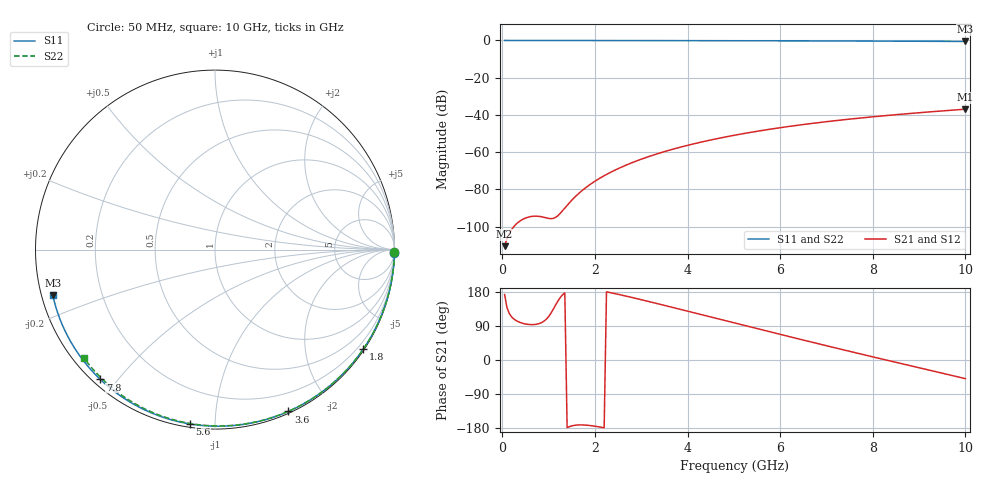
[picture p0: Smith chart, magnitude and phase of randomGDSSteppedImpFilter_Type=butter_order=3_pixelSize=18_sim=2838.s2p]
! freq	dB(S11)	phase(S11)	dB(S12)	phase(S12)
!  dB(S21)	phase(S21)	dB(S22)	phase(S22)
!S-par simulation data
#  GHz  S  DB  R 50
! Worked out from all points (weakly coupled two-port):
!   200 points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, 50 MHz to 10 GHz, reference 50 ohm
!   highest |S21| = -36.93 dB at 10 GHz (marker M1); lowest = -110.5 dB at 50 MHz (marker M2)
!   lowest |S11| = -0.5 dB at 10 GHz (marker M3), VSWR 31.73, Z = 1.61 - j6.88 ohm
!   |S11| at or under -10 dB: nowhere
!   |S22| runs from -0.5 to 0.0 dB; largest |S21 - S12| = 0
!   S11 on the Smith chart (normalised r, x): 50 MHz: open; 1.8 GHz: 0.03, -3.29; 3.6 GHz: 0.02, -1.55; 5.6 GHz: 0.02, -0.87; 7.8 GHz: 0.02, -0.45; 10 GHz: 0.03, -0.14
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0.05  -0.00 -1.0  -110.54 172.9  -110.54 172.9  -0.00 -0.8
0.45  -0.01 -8.6  -96.01 96.5  -96.01 96.5  -0.01 -7.3
0.85  -0.02 -16.1  -94.75 98.8  -94.75 98.8  -0.02 -13.7
1.3  -0.03 -24.6  -91.50 171.9  -91.50 171.9  -0.03 -20.9
1.75  -0.04 -32.9  -80.11 -171.4  -80.11 -171.4  -0.04 -28.0
1.8  -0.04 -33.8  -79.14 -171.8  -79.14 -171.8  -0.04 -28.8
2.1  -0.05 -39.3  -74.10 -176.7  -74.10 -176.7  -0.04 -33.5
2.3  -0.05 -42.9  -71.33 178.6  -71.33 178.6  -0.05 -36.6
2.5  -0.06 -46.5  -68.89 173.4  -68.89 173.4  -0.05 -39.7
2.9  -0.07 -53.5  -64.72 162.1  -64.72 162.1  -0.06 -45.8
3.4  -0.08 -62.2  -60.49 147.2  -60.49 147.2  -0.07 -53.3
3.6  -0.09 -65.7  -59.01 141.1  -59.01 141.1  -0.08 -56.3
4.3  -0.11 -77.4  -54.58 119.7  -54.58 119.7  -0.09 -66.5
5.05  -0.14 -89.6  -50.76 96.6  -50.76 96.6  -0.12 -77.1
5.6  -0.16 -98.2  -48.40 79.8  -48.40 79.8  -0.14 -84.6
6.15  -0.19 -106.7  -46.35 63.1  -46.35 63.1  -0.16 -92.0
6.7  -0.22 -115.1  -44.54 46.6  -44.54 46.6  -0.19 -99.2
7.25  -0.26 -123.3  -42.94 30.2  -42.94 30.2  -0.22 -106.3
7.8  -0.31 -131.5  -41.51 14.1  -41.51 14.1  -0.26 -113.3
8.35  -0.36 -139.6  -40.22 -1.8  -40.22 -1.8  -0.31 -120.2
9.2  -0.45 -152.2  -38.43 -26.2  -38.43 -26.2  -0.38 -130.7
10  -0.55 -164.3  -36.93 -49.2  -36.93 -49.2  -0.47 -140.6
